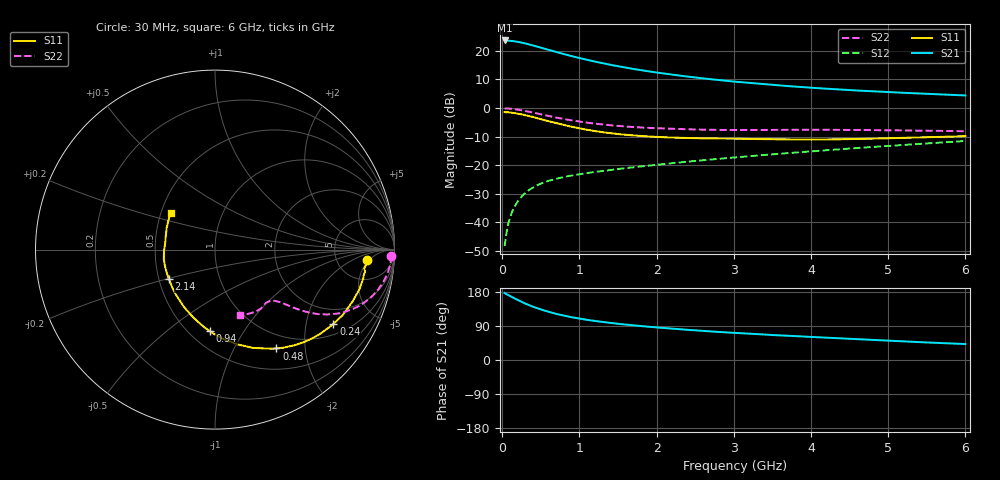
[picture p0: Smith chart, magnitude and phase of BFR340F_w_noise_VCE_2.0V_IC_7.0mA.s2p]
! Infineon Technologies  Discrete & RF Semiconductors
! BFR340F
! VCE =  2.0 V,  IC =  7.0 mA
! Common Emitter S-Parameters:  Nov 2015
# GHz  S  MA  R  50
!  f  S11  S21  S12  S22
! GHz  MAG  ANG  MAG  ANG  MAG  ANG  MAG  ANG
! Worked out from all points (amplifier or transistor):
!   206 points, 30 MHz to 6 GHz, reference 50 ohm
!   highest |S21| = 23.7 dB at 30 MHz (marker M1)
!   |S21| within 3 dB of that: start of sweep to 562.4 MHz
!   unconditionally stable (mu >= 1): 2.351 GHz to 5.511 GHz
!   at 200 MHz: K = 0.16, MSG = 28.0 dB, |S12| = -32.7 dB
!   at 1.56 GHz: K = 0.86, MSG = 17.7 dB, |S12| = -21.2 dB
!   at 6 GHz: K = 0.98, MSG = 8.0 dB, |S12| = -11.6 dB
!   lowest NFmin = 1.25 dB at 450 MHz
!   S11 on the Smith chart (normalised r, x): 30 MHz: 10, -4; 240 MHz: 1.37, -2.88; 480 MHz: 0.79, -1.50; 940 MHz: 0.63, -0.72; 2.14 GHz: 0.56, -0.21; 6 GHz: 0.56, +0.26
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0.03  0.8474 -4.1  15.23 176.9  0.0038 87.7  0.9832 -2.0
0.05  0.838 -7.1  15.13 174.0  0.006 85.3  0.9815 -3.5
0.07  0.8409 -9.8  15.19 171.9  0.0085 85.6  0.9796 -5.0
0.14  0.8223 -19.3  14.86 164.6  0.0167 80.0  0.9608 -9.9
0.24  0.7785 -32.1  14.06 154.4  0.0271 73.9  0.9169 -16.1
0.3  0.7484 -39.3  13.49 148.7  0.0327 70.7  0.8853 -19.3
0.36  0.7156 -46.0  12.86 143.6  0.0376 68.1  0.8514 -22.2
0.48  0.6484 -58.1  11.6 134.6  0.0461 63.7  0.7845 -26.7
0.6  0.5865 -69.0  10.43 126.9  0.0529 60.7  0.723 -30.0
0.7  0.5416 -76.9  9.55 121.5  0.0577 59.0  0.6782 -32.0
0.8  0.5019 -84.2  8.763 116.9  0.0619 57.9  0.6394 -33.5
0.94  0.4562 -93.4  7.844 111.4  0.0671 56.9  0.5945 -34.9
1.04  0.4287 -99.5  7.271 107.9  0.0707 56.6  0.5675 -35.8
1.2  0.3942 -108.5  6.49 103.0  0.0759 56.5  0.5315 -36.8
1.44  0.3569 -120.4  5.574 96.9  0.0836 57.0  0.4927 -38.0
1.7  0.3305 -131.7  4.824 91.3  0.0918 57.9  0.4636 -39.1
2.02  0.3104 -143.2  4.143 85.6  0.1021 59.2  0.4409 -40.4
2.14  0.3053 -147.2  3.934 83.7  0.106 59.7  0.4346 -41.1
3.1  0.2885 -171.3  2.825 70.6  0.1395 62.5  0.411 -47.0
4.1  0.2805 170.7  2.217 59.9  0.1781 63.9  0.4159 -52.8
5.1  0.297 154.2  1.872 50.2  0.221 63.8  0.4058 -61.0
6  0.3215 140.3  1.659 42.1  0.2644 62.7  0.3915 -69.5
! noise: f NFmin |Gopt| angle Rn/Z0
0.45  1.25  0.38  2  0.3
0.9  1.27  0.38  11  0.33
1.9  1.54  0.25  11  0.31
2.4  1.69  0.21  23  0.3
